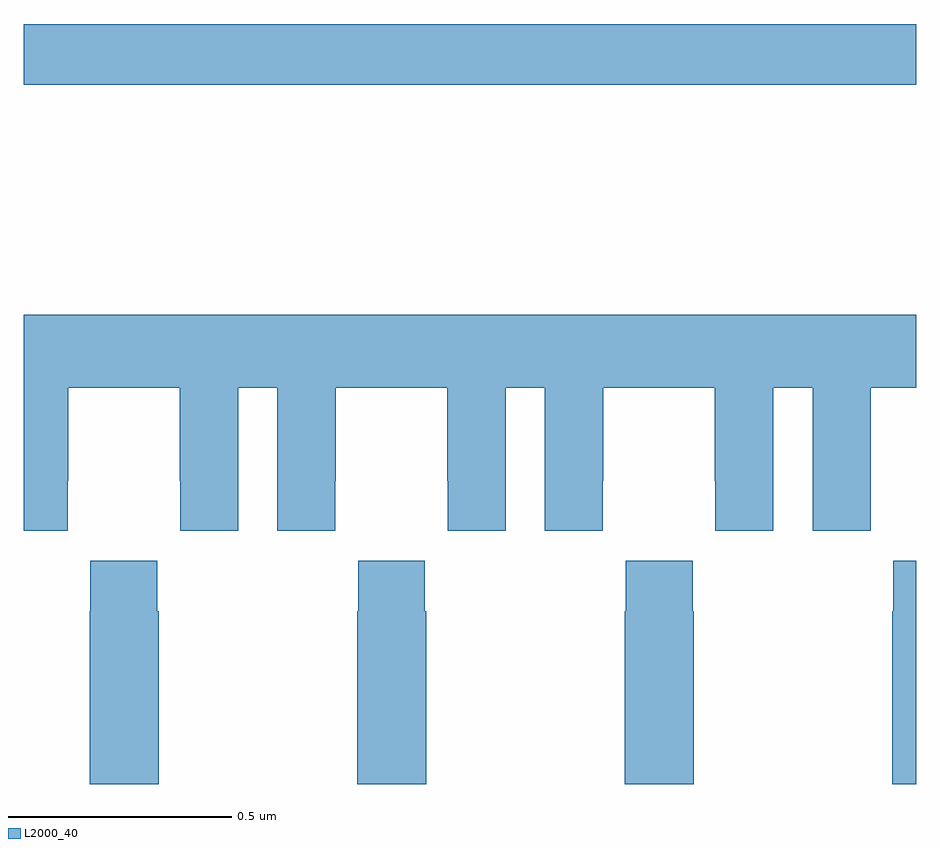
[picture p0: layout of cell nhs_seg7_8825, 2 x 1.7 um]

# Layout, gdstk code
import gdstk
lib = gdstk.Library(unit=1e-6, precision=1e-09)
def R(c, l, rs):  # rectangles x0, y0, x1, y1
    for r in rs: c.add(gdstk.rectangle(r[:2], r[2:], *l))
def P(c, l, *ps):  # polygons
    for p in ps: c.add(gdstk.Polygon(p, *l))
L2000_40 = (2000, 40)

nhs_seg7_8825 = lib.new_cell('nhs_seg7_8825')
R(nhs_seg7_8825, L2000_40, [(229,1062.568,231,1062.704)])
P(nhs_seg7_8825, L2000_40, [(229.098,1061.68),(229.099,1061.68),(229.099,1061.888),(229.349,1061.888),(229.349,1061.68),(229.35,1061.68),(229.35,1061.568),(229.48,1061.568),(229.48,1061.888),(229.568,1061.888),(229.568,1061.568),(229.698,1061.568),(229.698,1061.68),(229.699,1061.68),(229.699,1061.888),(229.949,1061.888),(229.949,1061.68),(229.95,1061.68),(229.95,1061.568),(230.08,1061.568),(230.08,1061.888),(230.168,1061.888),(230.168,1061.568),(230.298,1061.568),(230.298,1061.68),(230.299,1061.68),(230.299,1061.888),(230.549,1061.888),(230.549,1061.68),(230.55,1061.68),(230.55,1061.568),(230.68,1061.568),(230.68,1061.888),(230.768,1061.888),(230.768,1061.568),(230.898,1061.568),(230.898,1061.68),(230.899,1061.68),(230.899,1061.888),(231,1061.888),(231,1062.052),(229,1062.052),(229,1061.568),(229.098,1061.568)],
  [(229.902,1061.387),(229.899,1061.387),(229.899,1061.5),(229.749,1061.5),(229.749,1061.387),(229.747,1061.387),(229.747,1061),(229.902,1061)],
  [(230.502,1061.387),(230.499,1061.387),(230.499,1061.5),(230.349,1061.5),(230.349,1061.387),(230.347,1061.387),(230.347,1061),(230.502,1061)],
  [(231,1061.5),(230.949,1061.5),(230.949,1061.387),(230.947,1061.387),(230.947,1061),(231,1061)],
  [(229.149,1061.5),(229.149,1061.387),(229.147,1061.387),(229.147,1061),(229.302,1061),(229.302,1061.387),(229.299,1061.387),(229.299,1061.5)])

lib.write_gds('nhs_seg7_8825.gds')
